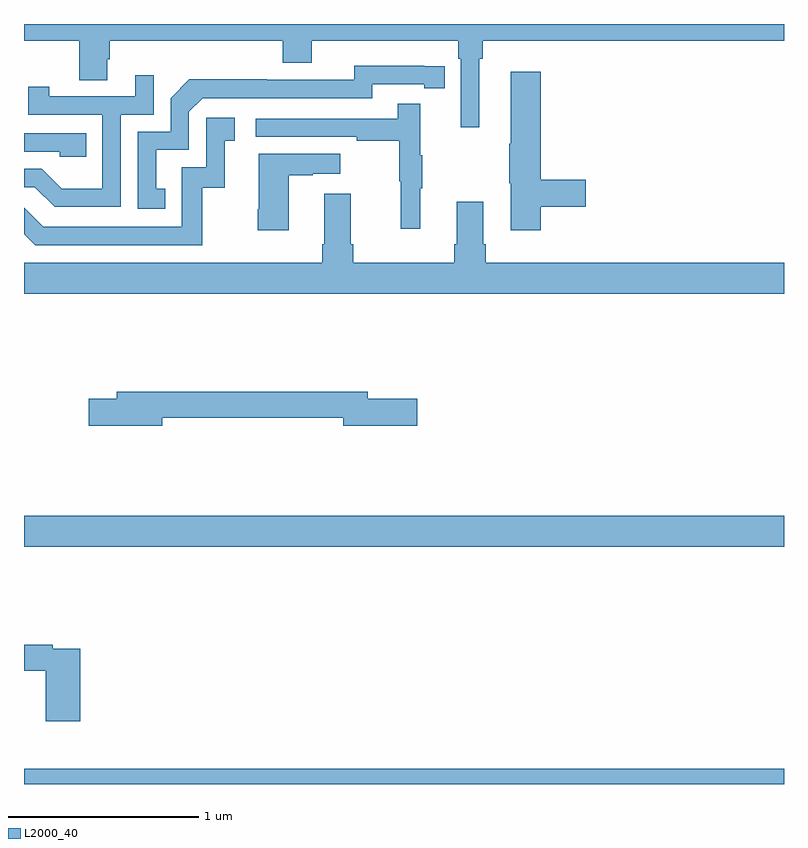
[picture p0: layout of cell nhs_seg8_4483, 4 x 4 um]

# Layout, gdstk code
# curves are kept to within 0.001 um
import gdstk
lib = gdstk.Library(unit=1e-6, precision=1e-09)
def R(c, l, rs):  # rectangles x0, y0, x1, y1
    for r in rs: c.add(gdstk.rectangle(r[:2], r[2:], *l))
def P(c, l, *ps):  # polygons
    for p in ps: c.add(gdstk.Polygon(p, *l))
L2000_40 = (2000, 40)

nhs_seg8_4483 = lib.new_cell('nhs_seg8_4483')
R(nhs_seg8_4483, L2000_40, [(383,1133.9,387,1133.98), (383,1135.148,387,1135.312)])
P(nhs_seg8_4483, L2000_40, [(385.396,1137.716),(385.415,1137.716),(385.415,1137.812),(387,1137.812),(387,1137.9),(383,1137.9),(383,1137.812),(383.29,1137.812),(383.29,1137.604),(383.437,1137.604),(383.437,1137.714),(383.45,1137.714),(383.45,1137.812),(384.362,1137.812),(384.362,1137.695),(384.514,1137.695),(384.514,1137.812),(385.286,1137.812),(385.286,1137.716),(385.299,1137.716),(385.299,1137.357),(385.396,1137.357)],
  [(383.744,1137.033),(383.695,1137.033),(383.695,1137.237),(383.868,1137.237),(383.868,1137.438),(383.94,1137.51),(384.834,1137.51),(384.834,1137.582),(385.106,1137.582),(385.106,1137.562),(385.214,1137.562),(385.214,1137.678),(384.738,1137.679),(384.738,1137.606),(384.278,1137.606),(384.278,1137.608),(383.87,1137.608),(383.772,1137.51),(383.772,1137.333),(383.598,1137.333),(383.598,1136.928),(383.744,1136.928)],
  [(385.721,1136.938),(385.957,1136.938),(385.957,1137.08),(385.721,1137.08),(385.721,1137.649),(385.562,1137.649),(385.562,1137.269),(385.555,1137.269),(385.555,1137.063),(385.562,1137.063),(385.562,1136.814),(385.721,1136.814)],
  [(383.508,1137.423),(383.682,1137.423),(383.682,1137.631),(383.585,1137.631),(383.585,1137.519),(383.134,1137.519),(383.134,1137.571),(383.023,1137.571),(383.023,1137.423),(383.412,1137.423),(383.412,1137.034),(383.198,1137.034),(383.094,1137.138),(383,1137.138),(383,1137.042),(383.057,1137.042),(383.162,1136.937),(383.508,1136.937)],
  [(385.085,1137.035),(385.096,1137.035),(385.096,1137.209),(385.085,1137.209),(385.085,1137.481),(384.967,1137.481),(384.967,1137.402),(384.219,1137.402),(384.219,1137.306),(384.751,1137.306),(384.751,1137.286),(384.975,1137.286),(384.975,1137.072),(384.982,1137.072),(384.982,1136.823),(385.085,1136.823)],
  [(383.938,1137.039),(384.056,1137.039),(384.056,1137.285),(384.109,1137.285),(384.109,1137.406),(383.958,1137.406),(383.958,1137.147),(383.829,1137.147),(383.829,1136.832),(383.1,1136.832),(383,1136.932),(383,1136.794),(383.058,1136.736),(383.938,1136.736)],
  [(383.327,1137.324),(383,1137.324),(383,1137.228),(383.187,1137.228),(383.187,1137.201),(383.327,1137.201)],
  [(384.394,1137.103),(384.521,1137.103),(384.521,1137.113),(384.664,1137.113),(384.664,1137.217),(384.236,1137.217),(384.236,1136.926),(384.229,1136.926),(384.229,1136.814),(384.394,1136.814)],
  [(387,1136.644),(385.43,1136.644),(385.43,1136.74),(385.417,1136.74),(385.417,1136.965),(385.277,1136.965),(385.277,1136.74),(385.265,1136.74),(385.265,1136.644),(384.734,1136.644),(384.734,1136.74),(384.721,1136.74),(384.721,1137.007),(384.581,1137.007),(384.581,1136.74),(384.569,1136.74),(384.569,1136.644),(383,1136.644),(383,1136.48),(387,1136.48)],
  [(383.728,1135.828),(384.68,1135.828),(384.68,1135.786),(385.069,1135.786),(385.069,1135.928),(384.808,1135.928),(384.808,1135.964),(383.489,1135.964),(383.489,1135.928),(383.34,1135.928),(383.34,1135.786),(383.728,1135.786)],
  [(383.297,1134.612),(383.15,1134.612),(383.15,1134.632),(383,1134.632),(383,1134.496),(383.114,1134.496),(383.114,1134.231),(383.297,1134.231)])

lib.write_gds('nhs_seg8_4483.gds')
